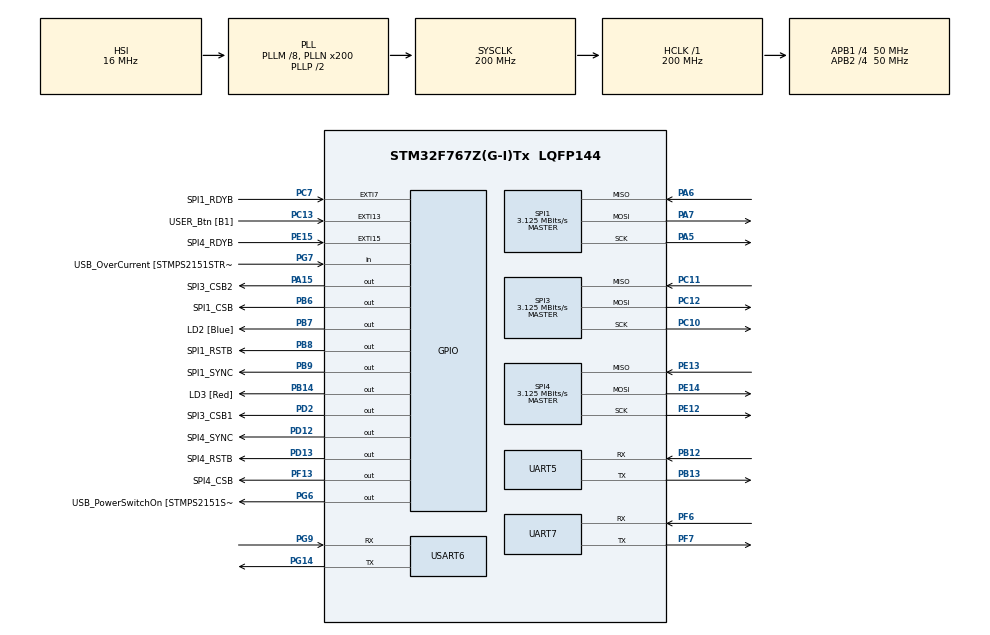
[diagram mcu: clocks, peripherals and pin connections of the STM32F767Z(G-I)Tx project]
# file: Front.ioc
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Mcu.Family=STM32F7
Mcu.Name=STM32F767Z(G-I)Tx
Mcu.Package=LQFP144
NVIC.EXTI15_10_IRQn=true\:1\:0\:true\:false\:true\:true
NVIC.EXTI9_5_IRQn=true\:1\:0\:true\:false\:true\:true
NVIC.PriorityGroup=NVIC_PRIORITYGROUP_3
NVIC.TIM1_UP_TIM10_IRQn=true\:0\:0\:false\:false\:true\:true
NVIC.USART6_IRQn=true\:0\:0\:false\:false\:true\:true
PA1.GPIO_Label=RMII_REF_CLK [LAN8742A-CZ-TR_REFCLK0]
PA1.Signal=ETH_REF_CLK
PA10.GPIO_Label=USB_ID
PA10.Signal=USB_OTG_FS_ID
PA11.GPIO_Label=USB_DM
PA11.Signal=USB_OTG_FS_DM
PA12.GPIO_Label=USB_DP
PA12.Signal=USB_OTG_FS_DP
PA13.GPIO_Label=TMS
PA13.Signal=SYS_JTMS-SWDIO
PA14.GPIO_Label=TCK
PA14.Signal=SYS_JTCK-SWCLK
PA15.GPIO_Label=SPI3_CSB2
PA15.Signal=GPIO_Output
PA2.GPIO_Label=RMII_MDIO [LAN8742A-CZ-TR_MDIO]
PA2.Signal=ETH_MDIO
PA5.Mode=Full_Duplex_Master
PA5.Signal=SPI1_SCK
PA6.Mode=Full_Duplex_Master
PA6.Signal=SPI1_MISO
PA7.Mode=Full_Duplex_Master
PA7.Signal=SPI1_MOSI
PA8.GPIO_Label=USB_SOF [TP1]
PA8.Signal=USB_OTG_FS_SOF
PA9.GPIO_Label=USB_VBUS
PA9.Signal=USB_OTG_FS_VBUS
PB12.Mode=Asynchronous
PB12.Signal=UART5_RX
PB13.Mode=Asynchronous
PB13.Signal=UART5_TX
PB14.GPIO_Label=LD3 [Red]
PB14.Signal=GPIO_Output
PB3.GPIO_Label=SW0
PB3.Signal=SYS_JTDO-SWO
PB6.GPIO_Label=SPI1_CSB
PB6.Signal=GPIO_Output
PB7.GPIO_Label=LD2 [Blue]
PB7.Signal=GPIO_Output
PB8.GPIO_Label=SPI1_RSTB
PB8.Signal=GPIO_Output
PB9.GPIO_Label=SPI1_SYNC
PB9.Signal=GPIO_Output
PC1.GPIO_Label=RMII_MDC [LAN8742A-CZ-TR_MDC]
PC1.Signal=ETH_MDC
PC10.Mode=Full_Duplex_Master
PC10.Signal=SPI3_SCK
PC11.Mode=Full_Duplex_Master
PC11.Signal=SPI3_MISO
PC12.Mode=Full_Duplex_Master
PC12.Signal=SPI3_MOSI
PC13.GPIO_Label=USER_Btn [B1]
PC13.Signal=GPXTI13
PC14/OSC32_IN.Signal=RCC_OSC32_IN
PC15/OSC32_OUT.Signal=RCC_OSC32_OUT
PC4.GPIO_Label=RMII_RXD0 [LAN8742A-CZ-TR_RXD0]
PC4.Signal=ETH_RXD0
PC5.GPIO_Label=RMII_RXD1 [LAN8742A-CZ-TR_RXD1]
PC5.Signal=ETH_RXD1
PC7.GPIO_Label=SPI1_RDYB
PC7.GPIO_ModeDefaultEXTI=GPIO_MODE_IT_FALLING
PC7.Signal=GPXTI7
PD12.GPIO_Label=SPI4_SYNC
PD12.Signal=GPIO_Output
PD13.GPIO_Label=SPI4_RSTB
PD13.Signal=GPIO_Output
PD2.GPIO_Label=SPI3_CSB1
PD2.Signal=GPIO_Output
PD8.GPIO_Label=STLK_RX [STM32F103CBT6_PA3]
PD8.Signal=USART3_TX
PD9.GPIO_Label=STLK_TX [STM32F103CBT6_PA2]
PD9.Signal=USART3_RX
PE12.Mode=Full_Duplex_Master
PE12.Signal=SPI4_SCK
PE13.Mode=Full_Duplex_Master
PE13.Signal=SPI4_MISO
PE14.Mode=Full_Duplex_Master
PE14.Signal=SPI4_MOSI
PE15.GPIO_Label=SPI4_RDYB
PE15.GPIO_ModeDefaultEXTI=GPIO_MODE_IT_FALLING
PE15.Signal=GPXTI15
PF13.GPIO_Label=SPI4_CSB
PF13.Signal=GPIO_Output
PF6.Mode=Asynchronous
PF6.Signal=UART7_RX
PF7.Mode=Asynchronous
PF7.Signal=UART7_TX
PG11.GPIO_Label=RMII_TX_EN [LAN8742A-CZ-TR_TXEN]
PG11.Signal=ETH_TX_EN
PG13.GPIO_Label=RMII_TXD0 [LAN8742A-CZ-TR_TXD0]
PG13.Signal=ETH_TXD0
PG14.Mode=Asynchronous
PG14.Signal=USART6_TX
PG6.GPIO_Label=USB_PowerSwitchOn [STMPS2151STR_EN]
PG6.Signal=GPIO_Output
PG7.GPIO_Label=USB_OverCurrent [STMPS2151STR_FAULT]
PG7.Signal=GPIO_Input
PG9.Mode=Asynchronous
PG9.Signal=USART6_RX
PH0/OSC_IN.GPIO_Label=MCO [STM32F103CBT6_PA8]
PH0/OSC_IN.Signal=RCC_OSC_IN
PH1/OSC_OUT.GPIO_Label=RMII_MDC [LAN8742A-CZ-TR_MDC]
PH1/OSC_OUT.Signal=RCC_OSC_OUT
ProjectManager.HeapSize=0x200
ProjectManager.StackSize=0x400
ProjectManager.TargetToolchain=MDK-ARM V5
RCC.48MHZClocksFreq_Value=24000000
RCC.AHBFreq_Value=200000000
RCC.APB1CLKDivider=RCC_HCLK_DIV4
RCC.APB1Freq_Value=50000000
RCC.APB1TimFreq_Value=100000000
RCC.APB2CLKDivider=RCC_HCLK_DIV4
RCC.APB2Freq_Value=50000000
RCC.APB2TimFreq_Value=100000000
RCC.CortexFreq_Value=200000000
RCC.HCLKFreq_Value=200000000
RCC.HSE_VALUE=25000000
RCC.HSI_VALUE=16000000
RCC.LSE_VALUE=32768
RCC.PLLM=8
RCC.PLLMUL=RCC_PLL_MUL9
RCC.PLLN=200
RCC.PRESCALERUSB=RCC_USBCLKSOURCE_PLL_DIV1_5
RCC.SYSCLKFreq_VALUE=200000000
RCC.SYSCLKSource=RCC_SYSCLKSOURCE_PLLCLK
RCC.SYSCLKSourceVirtual=RCC_SYSCLKSOURCE_PLLCLK
RCC.USBFreq_Value=200000000
RCC.VCOOutputFreq_Value=400000000
SPI1.BaudRatePrescaler=SPI_BAUDRATEPRESCALER_16
SPI1.CalculateBaudRate=3.125 MBits/s
SPI1.DataSize=SPI_DATASIZE_8BIT
SPI1.Direction=SPI_DIRECTION_2LINES
SPI1.Mode=SPI_MODE_MASTER
SPI1.NSSPMode=SPI_NSS_PULSE_DISABLE
SPI1.VirtualType=VM_MASTER
SPI3.BaudRatePrescaler=SPI_BAUDRATEPRESCALER_16
SPI3.CalculateBaudRate=3.125 MBits/s
SPI3.DataSize=SPI_DATASIZE_8BIT
SPI3.Direction=SPI_DIRECTION_2LINES
SPI3.Mode=SPI_MODE_MASTER
SPI3.NSSPMode=SPI_NSS_PULSE_DISABLE
SPI3.VirtualType=VM_MASTER
SPI4.BaudRatePrescaler=SPI_BAUDRATEPRESCALER_16
SPI4.CalculateBaudRate=3.125 MBits/s
SPI4.DataSize=SPI_DATASIZE_8BIT
SPI4.Direction=SPI_DIRECTION_2LINES
SPI4.Mode=SPI_MODE_MASTER
SPI4.NSSPMode=SPI_NSS_PULSE_DISABLE
SPI4.VirtualType=VM_MASTER
TIM1.Period=999
TIM1.Prescaler=999
USART6.VirtualMode-Asynchronous=VM_ASYNC
VP_TIM1_VS_ClockSourceINT.Mode=Internal
board=NUCLEO-F767ZI

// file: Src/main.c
/**
  ******************************************************************************
  * File Name          : main.c
  * Description        : Main program body
  ******************************************************************************
  ** This notice applies to any and all portions of this file
  * that are not between comment pairs USER CODE BEGIN and
  * USER CODE END. Other portions of this file, whether
  * inserted by the user or by software development tools
  * are owned by their respective copyright owners.
  *
  * COPYRIGHT(c) 2017 STMicroelectronics
  *
  * Redistribution and use in source and binary forms, with or without modification,
  * are permitted provided that the following conditions are met:
  *   1. Redistributions of source code must retain the above copyright notice,
  *      this list of conditions and the following disclaimer.
  *   2. Redistributions in binary form must reproduce the above copyright notice,
  *      this list of conditions and the following disclaimer in the documentation
  *      and/or other materials provided with the distribution.
  *   3. Neither the name of STMicroelectronics nor the names of its contributors
  *      may be used to endorse or promote products derived from this software
  *      without specific prior written permission.
  *
  * THIS SOFTWARE IS PROVIDED BY THE COPYRIGHT HOLDERS AND CONTRIBUTORS "AS IS"
  * AND ANY EXPRESS OR IMPLIED WARRANTIES, INCLUDING, BUT NOT LIMITED TO, THE
  * IMPLIED WARRANTIES OF MERCHANTABILITY AND FITNESS FOR A PARTICULAR PURPOSE ARE
  * DISCLAIMED. IN NO EVENT SHALL THE COPYRIGHT HOLDER OR CONTRIBUTORS BE LIABLE
  * FOR ANY DIRECT, INDIRECT, INCIDENTAL, SPECIAL, EXEMPLARY, OR CONSEQUENTIAL
  * DAMAGES (INCLUDING, BUT NOT LIMITED TO, PROCUREMENT OF SUBSTITUTE GOODS OR
  * SERVICES; LOSS OF USE, DATA, OR PROFITS; OR BUSINESS INTERRUPTION) HOWEVER
  * CAUSED AND ON ANY THEORY OF LIABILITY, WHETHER IN CONTRACT, STRICT LIABILITY,
  * OR TORT (INCLUDING NEGLIGENCE OR OTHERWISE) ARISING IN ANY WAY OUT OF THE USE
  * OF THIS SOFTWARE, EVEN IF ADVISED OF THE POSSIBILITY OF SUCH DAMAGE.
  *
  ******************************************************************************
  */
#include "main.h"
#include "stm32f7xx_hal.h"

/* USER CODE BEGIN Includes */

/* Device Driver */

#include "MAX11270.h"
#include "MPU9250.h"

#include "Protocol.h"
#include "buffer.h"
#include "crc.h"
//#include "VescUart.h"

/* Algorithm */

#include "Filters.h"
#include "Queue.h"

/* USER CODE END Includes */

SPI_HandleTypeDef hspi1;
SPI_HandleTypeDef hspi3;
SPI_HandleTypeDef hspi4;

TIM_HandleTypeDef htim1;

UART_HandleTypeDef huart5;
UART_HandleTypeDef huart7;
UART_HandleTypeDef huart6;

/* USER CODE BEGIN PV */
/* Private variables ---------------------------------------------------------*/

MAX_SelectTypeDef hmax1;
MAX_SelectTypeDef hmax2;

MPU_SelectTypeDef hmpu1;
MPU_SelectTypeDef hmpu2;

/* USER CODE END PV */

void SystemClock_Config(void);
static void MX_GPIO_Init(void);
static void MX_USART6_UART_Init(void);
static void MX_SPI3_Init(void);
static void MX_SPI4_Init(void);
static void MX_SPI1_Init(void);
static void MX_UART7_Init(void);
static void MX_UART5_Init(void);
static void MX_TIM1_Init(void);

/* USER CODE BEGIN PFP */
/* Private function prototypes -----------------------------------------------*/

static void MAX1_Init(void);
static void MAX2_Init(void);

	/* static void MPU1_Init(void);
		*/

/* USER CODE END PFP */

/* USER CODE BEGIN 0 */

uint16_t TIM_Tick = 1;

uint8_t Device[1];

uint8_t Rx_data[20];

uint32_t qu;

/* USER CODE END 0 */

int main(void)
{

  /* USER CODE BEGIN 1 */
	uint8_t R_buffer1[4], R_buffer2[4];

  /* USER CODE END 1 */

  /* MCU Configuration----------------------------------------------------------*/

  /* Reset of all peripherals, Initializes the Flash interface and the Systick. */
  HAL_Init();

  /* Configure the system clock */
  SystemClock_Config();

  /* Initialize all configured peripherals */
  MX_GPIO_Init();
  MX_USART6_UART_Init();
  MX_SPI3_Init();
  MX_SPI4_Init();
  MX_SPI1_Init();
  MX_UART7_Init();
  MX_UART5_Init();
  MX_TIM1_Init();

  /* USER CODE BEGIN 2 */

  MAX1_Init();
  MAX2_Init();

  MAX11270_ConvCmd(&hmax1);
  MAX11270_ConvCmd(&hmax2);

  HAL_TIM_Base_Start_IT(&htim1);

  /* USER CODE END 2 */

  /* Infinite loop */
  /* USER CODE BEGIN WHILE */
  while (1)
  {

	////////////////////Front/////////////////////////////////

	HAL_UART_Receive_IT(&huart6, Rx_data, 1);

  /* USER CODE END WHILE */

  }
}

/** System Clock Configuration
*/
void SystemClock_Config(void)
{

  RCC_OscInitTypeDef RCC_OscInitStruct;
  RCC_ClkInitTypeDef RCC_ClkInitStruct;
  RCC_PeriphCLKInitTypeDef PeriphClkInitStruct;

    /**Configure the main internal regulator output voltage
    */
  __HAL_RCC_PWR_CLK_ENABLE();

  __HAL_PWR_VOLTAGESCALING_CONFIG(PWR_REGULATOR_VOLTAGE_SCALE1);

    /**Initializes the CPU, AHB and APB busses clocks
    */
  RCC_OscInitStruct.OscillatorType = RCC_OSCILLATORTYPE_HSI;
  RCC_OscInitStruct.HSIState = RCC_HSI_ON;
  RCC_OscInitStruct.HSICalibrationValue = 16;
  RCC_OscInitStruct.PLL.PLLState = RCC_PLL_ON;
  RCC_OscInitStruct.PLL.PLLSource = RCC_PLLSOURCE_HSI;
  RCC_OscInitStruct.PLL.PLLM = 8;
  RCC_OscInitStruct.PLL.PLLN = 200;
  RCC_OscInitStruct.PLL.PLLP = RCC_PLLP_DIV2;
  RCC_OscInitStruct.PLL.PLLQ = 2;
  if (HAL_RCC_OscConfig(&RCC_OscInitStruct) != HAL_OK)
  {
    _Error_Handler(__FILE__, __LINE__);
  }

    /**Activate the Over-Drive mode
    */
  if (HAL_PWREx_EnableOverDrive() != HAL_OK)
  {
    _Error_Handler(__FILE__, __LINE__);
  }

    /**Initializes the CPU, AHB and APB busses clocks
    */
  RCC_ClkInitStruct.ClockType = RCC_CLOCKTYPE_HCLK|RCC_CLOCKTYPE_SYSCLK
                              |RCC_CLOCKTYPE_PCLK1|RCC_CLOCKTYPE_PCLK2;
  RCC_ClkInitStruct.SYSCLKSource = RCC_SYSCLKSOURCE_PLLCLK;
  RCC_ClkInitStruct.AHBCLKDivider = RCC_SYSCLK_DIV1;
  RCC_ClkInitStruct.APB1CLKDivider = RCC_HCLK_DIV4;
  RCC_ClkInitStruct.APB2CLKDivider = RCC_HCLK_DIV4;

  if (HAL_RCC_ClockConfig(&RCC_ClkInitStruct, FLASH_LATENCY_6) != HAL_OK)
  {
    _Error_Handler(__FILE__, __LINE__);
  }

  PeriphClkInitStruct.PeriphClockSelection = RCC_PERIPHCLK_USART6|RCC_PERIPHCLK_UART5
                              |RCC_PERIPHCLK_UART7;
  PeriphClkInitStruct.Uart5ClockSelection = RCC_UART5CLKSOURCE_PCLK1;
  PeriphClkInitStruct.Usart6ClockSelection = RCC_USART6CLKSOURCE_PCLK2;
  PeriphClkInitStruct.Uart7ClockSelection = RCC_UART7CLKSOURCE_PCLK1;
  if (HAL_RCCEx_PeriphCLKConfig(&PeriphClkInitStruct) != HAL_OK)
  {
    _Error_Handler(__FILE__, __LINE__);
  }

    /**Configure the Systick interrupt time
    */
  HAL_SYSTICK_Config(HAL_RCC_GetHCLKFreq()/1000);

    /**Configure the Systick
    */
  HAL_SYSTICK_CLKSourceConfig(SYSTICK_CLKSOURCE_HCLK);

  /* SysTick_IRQn interrupt configuration */
  HAL_NVIC_SetPriority(SysTick_IRQn, 0, 0);
}

/* SPI1 init function */
static void MX_SPI1_Init(void)
{

  /* SPI1 parameter configuration*/
  hspi1.Instance = SPI1;
  hspi1.Init.Mode = SPI_MODE_MASTER;
  hspi1.Init.Direction = SPI_DIRECTION_2LINES;
  hspi1.Init.DataSize = SPI_DATASIZE_8BIT;
  hspi1.Init.CLKPolarity = SPI_POLARITY_LOW;
  hspi1.Init.CLKPhase = SPI_PHASE_1EDGE;
  hspi1.Init.NSS = SPI_NSS_SOFT;
  hspi1.Init.BaudRatePrescaler = SPI_BAUDRATEPRESCALER_16;
  hspi1.Init.FirstBit = SPI_FIRSTBIT_MSB;
  hspi1.Init.TIMode = SPI_TIMODE_DISABLE;
  hspi1.Init.CRCCalculation = SPI_CRCCALCULATION_DISABLE;
  hspi1.Init.CRCPolynomial = 7;
  hspi1.Init.CRCLength = SPI_CRC_LENGTH_DATASIZE;
  hspi1.Init.NSSPMode = SPI_NSS_PULSE_DISABLE;
  if (HAL_SPI_Init(&hspi1) != HAL_OK)
  {
    _Error_Handler(__FILE__, __LINE__);
  }

}

/* SPI3 init function */
static void MX_SPI3_Init(void)
{

  /* SPI3 parameter configuration*/
  hspi3.Instance = SPI3;
  hspi3.Init.Mode = SPI_MODE_MASTER;
  hspi3.Init.Direction = SPI_DIRECTION_2LINES;
  hspi3.Init.DataSize = SPI_DATASIZE_8BIT;
  hspi3.Init.CLKPolarity = SPI_POLARITY_LOW;
  hspi3.Init.CLKPhase = SPI_PHASE_1EDGE;
  hspi3.Init.NSS = SPI_NSS_SOFT;
  hspi3.Init.BaudRatePrescaler = SPI_BAUDRATEPRESCALER_16;
  hspi3.Init.FirstBit = SPI_FIRSTBIT_MSB;
  hspi3.Init.TIMode = SPI_TIMODE_DISABLE;
  hspi3.Init.CRCCalculation = SPI_CRCCALCULATION_DISABLE;
  hspi3.Init.CRCPolynomial = 7;
  hspi3.Init.CRCLength = SPI_CRC_LENGTH_DATASIZE;
  hspi3.Init.NSSPMode = SPI_NSS_PULSE_DISABLE;
  if (HAL_SPI_Init(&hspi3) != HAL_OK)
  {
    _Error_Handler(__FILE__, __LINE__);
  }

}

/* SPI4 init function */
static void MX_SPI4_Init(void)
{

  /* SPI4 parameter configuration*/
  hspi4.Instance = SPI4;
  hspi4.Init.Mode = SPI_MODE_MASTER;
  hspi4.Init.Direction = SPI_DIRECTION_2LINES;
  hspi4.Init.DataSize = SPI_DATASIZE_8BIT;
  hspi4.Init.CLKPolarity = SPI_POLARITY_LOW;
  hspi4.Init.CLKPhase = SPI_PHASE_1EDGE;
  hspi4.Init.NSS = SPI_NSS_SOFT;
  hspi4.Init.BaudRatePrescaler = SPI_BAUDRATEPRESCALER_16;
  hspi4.Init.FirstBit = SPI_FIRSTBIT_MSB;
  hspi4.Init.TIMode = SPI_TIMODE_DISABLE;
  hspi4.Init.CRCCalculation = SPI_CRCCALCULATION_DISABLE;
  hspi4.Init.CRCPolynomial = 7;
  hspi4.Init.CRCLength = SPI_CRC_LENGTH_DATASIZE;
  hspi4.Init.NSSPMode = SPI_NSS_PULSE_DISABLE;
  if (HAL_SPI_Init(&hspi4) != HAL_OK)
  {
    _Error_Handler(__FILE__, __LINE__);
  }

}

/* TIM1 init function */
static void MX_TIM1_Init(void)
{

  TIM_ClockConfigTypeDef sClockSourceConfig;
  TIM_MasterConfigTypeDef sMasterConfig;

  htim1.Instance = TIM1;
  htim1.Init.Prescaler = 99;
  htim1.Init.CounterMode = TIM_COUNTERMODE_UP;
  htim1.Init.Period = 999;
  htim1.Init.ClockDivision = TIM_CLOCKDIVISION_DIV1;
  htim1.Init.RepetitionCounter = 0;
  htim1.Init.AutoReloadPreload = TIM_AUTORELOAD_PRELOAD_DISABLE;
  if (HAL_TIM_Base_Init(&htim1) != HAL_OK)
  {
    _Error_Handler(__FILE__, __LINE__);
  }

  sClockSourceConfig.ClockSource = TIM_CLOCKSOURCE_INTERNAL;
  if (HAL_TIM_ConfigClockSource(&htim1, &sClockSourceConfig) != HAL_OK)
  {
    _Error_Handler(__FILE__, __LINE__);
  }

  sMasterConfig.MasterOutputTrigger = TIM_TRGO_RESET;
  sMasterConfig.MasterOutputTrigger2 = TIM_TRGO2_RESET;
  sMasterConfig.MasterSlaveMode = TIM_MASTERSLAVEMODE_DISABLE;
  if (HAL_TIMEx_MasterConfigSynchronization(&htim1, &sMasterConfig) != HAL_OK)
  {
    _Error_Handler(__FILE__, __LINE__);
  }

}

/* UART5 init function */
static void MX_UART5_Init(void)
{

  huart5.Instance = UART5;
  huart5.Init.BaudRate = 115200;
  huart5.Init.WordLength = UART_WORDLENGTH_7B;
  huart5.Init.StopBits = UART_STOPBITS_1;
  huart5.Init.Parity = UART_PARITY_NONE;
  huart5.Init.Mode = UART_MODE_TX_RX;
  huart5.Init.HwFlowCtl = UART_HWCONTROL_NONE;
  huart5.Init.OverSampling = UART_OVERSAMPLING_16;
  huart5.Init.OneBitSampling = UART_ONE_BIT_SAMPLE_DISABLE;
  huart5.AdvancedInit.AdvFeatureInit = UART_ADVFEATURE_NO_INIT;
  if (HAL_UART_Init(&huart5) != HAL_OK)
  {
    _Error_Handler(__FILE__, __LINE__);
  }

}

/* UART7 init function */
static void MX_UART7_Init(void)
{

  huart7.Instance = UART7;
  huart7.Init.BaudRate = 115200;
  huart7.Init.WordLength = UART_WORDLENGTH_7B;
  huart7.Init.StopBits = UART_STOPBITS_1;
  huart7.Init.Parity = UART_PARITY_NONE;
  huart7.Init.Mode = UART_MODE_TX_RX;
  huart7.Init.HwFlowCtl = UART_HWCONTROL_NONE;
  huart7.Init.OverSampling = UART_OVERSAMPLING_16;
  huart7.Init.OneBitSampling = UART_ONE_BIT_SAMPLE_DISABLE;
  huart7.AdvancedInit.AdvFeatureInit = UART_ADVFEATURE_NO_INIT;
  if (HAL_UART_Init(&huart7) != HAL_OK)
  {
    _Error_Handler(__FILE__, __LINE__);
  }

}

/* USART6 init function */
static void MX_USART6_UART_Init(void)
{

  huart6.Instance = USART6;
  huart6.Init.BaudRate = 115200;
  huart6.Init.WordLength = UART_WORDLENGTH_8B;
  huart6.Init.StopBits = UART_STOPBITS_1;
  huart6.Init.Parity = UART_PARITY_NONE;
  huart6.Init.Mode = UART_MODE_TX_RX;
  huart6.Init.HwFlowCtl = UART_HWCONTROL_NONE;
  huart6.Init.OverSampling = UART_OVERSAMPLING_16;
  huart6.Init.OneBitSampling = UART_ONE_BIT_SAMPLE_DISABLE;
  huart6.AdvancedInit.AdvFeatureInit = UART_ADVFEATURE_NO_INIT;
  if (HAL_UART_Init(&huart6) != HAL_OK)
  {
    _Error_Handler(__FILE__, __LINE__);
  }

}

/** Configure pins as
        * Analog
        * Input
        * Output
        * EVENT_OUT
        * EXTI
     PC1   ------> ETH_MDC
     PA1   ------> ETH_REF_CLK
     PA2   ------> ETH_MDIO
     PC4   ------> ETH_RXD0
     PC5   ------> ETH_RXD1
     PD8   ------> USART3_TX
     PD9   ------> USART3_RX
     PA8   ------> USB_OTG_FS_SOF
     PA9   ------> USB_OTG_FS_VBUS
     PA10   ------> USB_OTG_FS_ID
     PA11   ------> USB_OTG_FS_DM
     PA12   ------> USB_OTG_FS_DP
     PG11   ------> ETH_TX_EN
     PG13   ------> ETH_TXD0
*/
static void MX_GPIO_Init(void)
{

  GPIO_InitTypeDef GPIO_InitStruct;

  /* GPIO Ports Clock Enable */
  __HAL_RCC_GPIOC_CLK_ENABLE();
  __HAL_RCC_GPIOF_CLK_ENABLE();
  __HAL_RCC_GPIOH_CLK_ENABLE();
  __HAL_RCC_GPIOA_CLK_ENABLE();
  __HAL_RCC_GPIOE_CLK_ENABLE();
  __HAL_RCC_GPIOB_CLK_ENABLE();
  __HAL_RCC_GPIOD_CLK_ENABLE();
  __HAL_RCC_GPIOG_CLK_ENABLE();

  /*Configure GPIO pin Output Level */
  HAL_GPIO_WritePin(SPI4_CSB_GPIO_Port, SPI4_CSB_Pin, GPIO_PIN_RESET);

  /*Configure GPIO pin Output Level */
  HAL_GPIO_WritePin(GPIOB, LD3_Pin|SPI1_CSB_Pin|LD2_Pin|SPI1_RSTB_Pin
                          |SPI1_SYNC_Pin, GPIO_PIN_RESET);

  /*Configure GPIO pin Output Level */
  HAL_GPIO_WritePin(GPIOD, SPI4_SYNC_Pin|SPI4_RSTB_Pin|SPI3_CSB1_Pin, GPIO_PIN_RESET);

  /*Configure GPIO pin Output Level */
  HAL_GPIO_WritePin(USB_PowerSwitchOn_GPIO_Port, USB_PowerSwitchOn_Pin, GPIO_PIN_RESET);

  /*Configure GPIO pin Output Level */
  HAL_GPIO_WritePin(SPI3_CSB2_GPIO_Port, SPI3_CSB2_Pin, GPIO_PIN_RESET);

  /*Configure GPIO pin : USER_Btn_Pin */
  GPIO_InitStruct.Pin = USER_Btn_Pin;
  GPIO_InitStruct.Mode = GPIO_MODE_IT_RISING;
  GPIO_InitStruct.Pull = GPIO_NOPULL;
  HAL_GPIO_Init(USER_Btn_GPIO_Port, &GPIO_InitStruct);

  /*Configure GPIO pins : RMII_MDCC1_Pin RMII_RXD0_Pin RMII_RXD1_Pin */
  GPIO_InitStruct.Pin = RMII_MDCC1_Pin|RMII_RXD0_Pin|RMII_RXD1_Pin;
  GPIO_InitStruct.Mode = GPIO_MODE_AF_PP;
  GPIO_InitStruct.Pull = GPIO_NOPULL;
  GPIO_InitStruct.Speed = GPIO_SPEED_FREQ_VERY_HIGH;
  GPIO_InitStruct.Alternate = GPIO_AF11_ETH;
  HAL_GPIO_Init(GPIOC, &GPIO_InitStruct);

  /*Configure GPIO pins : RMII_REF_CLK_Pin RMII_MDIO_Pin */
  GPIO_InitStruct.Pin = RMII_REF_CLK_Pin|RMII_MDIO_Pin;
  GPIO_InitStruct.Mode = GPIO_MODE_AF_PP;
  GPIO_InitStruct.Pull = GPIO_NOPULL;
  GPIO_InitStruct.Speed = GPIO_SPEED_FREQ_VERY_HIGH;
  GPIO_InitStruct.Alternate = GPIO_AF11_ETH;
  HAL_GPIO_Init(GPIOA, &GPIO_InitStruct);

  /*Configure GPIO pin : SPI4_CSB_Pin */
  GPIO_InitStruct.Pin = SPI4_CSB_Pin;
  GPIO_InitStruct.Mode = GPIO_MODE_OUTPUT_PP;
  GPIO_InitStruct.Pull = GPIO_NOPULL;
  GPIO_InitStruct.Speed = GPIO_SPEED_FREQ_LOW;
  HAL_GPIO_Init(SPI4_CSB_GPIO_Port, &GPIO_InitStruct);

  /*Configure GPIO pin : SPI4_RDYB_Pin */
  GPIO_InitStruct.Pin = SPI4_RDYB_Pin;
  GPIO_InitStruct.Mode = GPIO_MODE_IT_FALLING;
  GPIO_InitStruct.Pull = GPIO_NOPULL;
  HAL_GPIO_Init(SPI4_RDYB_GPIO_Port, &GPIO_InitStruct);

  /*Configure GPIO pins : LD3_Pin SPI1_CSB_Pin LD2_Pin SPI1_RSTB_Pin
                           SPI1_SYNC_Pin */
  GPIO_InitStruct.Pin = LD3_Pin|SPI1_CSB_Pin|LD2_Pin|SPI1_RSTB_Pin
                          |SPI1_SYNC_Pin;
  GPIO_InitStruct.Mode = GPIO_MODE_OUTPUT_PP;
  GPIO_InitStruct.Pull = GPIO_NOPULL;
  GPIO_InitStruct.Speed = GPIO_SPEED_FREQ_LOW;
  HAL_GPIO_Init(GPIOB, &GPIO_InitStruct);

  /*Configure GPIO pins : STLK_RX_Pin STLK_TX_Pin */
  GPIO_InitStruct.Pin = STLK_RX_Pin|STLK_TX_Pin;
  GPIO_InitStruct.Mode = GPIO_MODE_AF_PP;
  GPIO_InitStruct.Pull = GPIO_NOPULL;
  GPIO_InitStruct.Speed = GPIO_SPEED_FREQ_VERY_HIGH;
  GPIO_InitStruct.Alternate = GPIO_AF7_USART3;
  HAL_GPIO_Init(GPIOD, &GPIO_InitStruct);

  /*Configure GPIO pins : SPI4_SYNC_Pin SPI4_RSTB_Pin SPI3_CSB1_Pin */
  GPIO_InitStruct.Pin = SPI4_SYNC_Pin|SPI4_RSTB_Pin|SPI3_CSB1_Pin;
  GPIO_InitStruct.Mode = GPIO_MODE_OUTPUT_PP;
  GPIO_InitStruct.Pull = GPIO_NOPULL;
  GPIO_InitStruct.Speed = GPIO_SPEED_FREQ_LOW;
  HAL_GPIO_Init(GPIOD, &GPIO_InitStruct);

  /*Configure GPIO pin : USB_PowerSwitchOn_Pin */
  GPIO_InitStruct.Pin = USB_PowerSwitchOn_Pin;
  GPIO_InitStruct.Mode = GPIO_MODE_OUTPUT_PP;
  GPIO_InitStruct.Pull = GPIO_NOPULL;
  GPIO_InitStruct.Speed = GPIO_SPEED_FREQ_LOW;
  HAL_GPIO_Init(USB_PowerSwitchOn_GPIO_Port, &GPIO_InitStruct);

  /*Configure GPIO pin : USB_OverCurrent_Pin */
  GPIO_InitStruct.Pin = USB_OverCurrent_Pin;
  GPIO_InitStruct.Mode = GPIO_MODE_INPUT;
  GPIO_InitStruct.Pull = GPIO_NOPULL;
  HAL_GPIO_Init(USB_OverCurrent_GPIO_Port, &GPIO_InitStruct);

  /*Configure GPIO pin : SPI1_RDYB_Pin */
  GPIO_InitStruct.Pin = SPI1_RDYB_Pin;
  GPIO_InitStruct.Mode = GPIO_MODE_IT_FALLING;
  GPIO_InitStruct.Pull = GPIO_NOPULL;
  HAL_GPIO_Init(SPI1_RDYB_GPIO_Port, &GPIO_InitStruct);

  /*Configure GPIO pins : USB_SOF_Pin USB_ID_Pin USB_DM_Pin USB_DP_Pin */
  GPIO_InitStruct.Pin = USB_SOF_Pin|USB_ID_Pin|USB_DM_Pin|USB_DP_Pin;
  GPIO_InitStruct.Mode = GPIO_MODE_AF_PP;
  GPIO_InitStruct.Pull = GPIO_NOPULL;
  GPIO_InitStruct.Speed = GPIO_SPEED_FREQ_VERY_HIGH;
  GPIO_InitStruct.Alternate = GPIO_AF10_OTG_FS;
  HAL_GPIO_Init(GPIOA, &GPIO_InitStruct);

  /*Configure GPIO pin : USB_VBUS_Pin */
  GPIO_InitStruct.Pin = USB_VBUS_Pin;
  GPIO_InitStruct.Mode = GPIO_MODE_INPUT;
  GPIO_InitStruct.Pull = GPIO_NOPULL;
  HAL_GPIO_Init(USB_VBUS_GPIO_Port, &GPIO_InitStruct);

  /*Configure GPIO pin : SPI3_CSB2_Pin */
  GPIO_InitStruct.Pin = SPI3_CSB2_Pin;
  GPIO_InitStruct.Mode = GPIO_MODE_OUTPUT_PP;
  GPIO_InitStruct.Pull = GPIO_NOPULL;
  GPIO_InitStruct.Speed = GPIO_SPEED_FREQ_LOW;
  HAL_GPIO_Init(SPI3_CSB2_GPIO_Port, &GPIO_InitStruct);

  /*Configure GPIO pins : RMII_TX_EN_Pin RMII_TXD0_Pin */
  GPIO_InitStruct.Pin = RMII_TX_EN_Pin|RMII_TXD0_Pin;
  GPIO_InitStruct.Mode = GPIO_MODE_AF_PP;
  GPIO_InitStruct.Pull = GPIO_NOPULL;
  GPIO_InitStruct.Speed = GPIO_SPEED_FREQ_VERY_HIGH;
  GPIO_InitStruct.Alternate = GPIO_AF11_ETH;
  HAL_GPIO_Init(GPIOG, &GPIO_InitStruct);

  /* EXTI interrupt init*/
  HAL_NVIC_SetPriority(EXTI9_5_IRQn, 1, 0);
  HAL_NVIC_EnableIRQ(EXTI9_5_IRQn);

  HAL_NVIC_SetPriority(EXTI15_10_IRQn, 1, 0);
  HAL_NVIC_EnableIRQ(EXTI15_10_IRQn);

}

/* USER CODE BEGIN 4 */

static void MAX1_Init(void)
{
	hmax1.hspi = hspi1;

	hmax1.CSB_GPIOx = SPI1_CSB_GPIO_Port;
	hmax1.CSB_GPIO_PIN = SPI1_CSB_Pin;

	hmax1.RSTB_GPIOx = SPI1_RSTB_GPIO_Port;
	hmax1.RSTB_GPIO_PIN = SPI1_RSTB_Pin;

	hmax1.SYNC_GPIOx = SPI1_SYNC_GPIO_Port;
	hmax1.SYNC_GPIO_PIN = SPI1_SYNC_Pin;

	hmax1.RDYB_GPIOx = SPI1_RDYB_GPIO_Port;
	hmax1.RDYB_GPIO_PIN = SPI1_RDYB_Pin;

	hmax1.RATE = MAX11270_RATE1600;
	hmax1.GAIN = MAX11270_GAIN32;

	hmax1.Queue.size = 20;
	define_array(&hmax1.Queue);

	MAX11270_Init(&hmax1);
}

static void MAX2_Init(void)
{
	hmax2.hspi = hspi4;

	hmax2.CSB_GPIOx = SPI4_CSB_GPIO_Port;
	hmax2.CSB_GPIO_PIN = SPI4_CSB_Pin;

	hmax2.RSTB_GPIOx = SPI4_RSTB_GPIO_Port;
	hmax2.RSTB_GPIO_PIN = SPI4_RSTB_Pin;

	hmax2.SYNC_GPIOx = SPI4_SYNC_GPIO_Port;
	hmax2.SYNC_GPIO_PIN = SPI4_SYNC_Pin;

	hmax2.RDYB_GPIOx = SPI4_RDYB_GPIO_Port;
	hmax2.RDYB_GPIO_PIN = SPI4_RDYB_Pin;

	hmax2.RATE = hmax1.RATE;
	hmax2.GAIN = hmax1.GAIN;

	hmax2.Queue.size = hmax1.Queue.size;
	define_array(&hmax2.Queue);

	MAX11270_Init(&hmax2);

}

/* USER Callback */

void HAL_TIM_PeriodElapsedCallback(TIM_HandleTypeDef *htim) {

	//////////////////////////////////////

 	TIM_Tick++;
	if(TIM_Tick >= 1000 ) TIM_Tick = 1;
}

void HAL_UART_RxCpltCallback(UART_HandleTypeDef *huart) {
	uint32_t Valu;
	uint8_t Device;

	if(huart->Instance == USART6) {

		if(Rx_data[0] == 0x10)		qu = hmax1.Value;
		else if(Rx_data[0] == 0x11) 	qu = hmax2.Value;

	Data_Transmit(Rx_data[0], qu ,10);
	}
	HAL_GPIO_TogglePin(LD2_GPIO_Port, LD2_Pin);
}

void HAL_GPIO_EXTI_Callback(uint16_t GPIO_Pin) {

		uint8_t i = 0;
		if(GPIO_Pin == SPI1_RDYB_Pin)
		{
			MAX11270_DataRead(&hmax1);

			enqueue(&hmax1.Queue, hmax1.Conv_TData);
			hmax1.Value = MoveAverage(hmax1.Value, &hmax1.Queue);

		}
		else if(GPIO_Pin == SPI4_RDYB_Pin)
		{
			MAX11270_DataRead(&hmax2);
			enqueue(&hmax2.Queue, hmax2.Conv_TData);
			hmax2.Value = MoveAverage(hmax2.Value, &hmax2.Queue);

		}

		HAL_GPIO_TogglePin(LD3_GPIO_Port,LD3_Pin);

}

/*
static void MPU1_Init(void)
{
	hmpu1.hspi = hspi1;
	hmpu1.GPIOx = SPI1_NSS_GPIO_Port;
	hmpu1.GPIO_PIN = SPI1_NSS_Pin;
	hmpu1.my_low_pass_filter = BITS_DLPF_CFG_188HZ;
	hmpu1.my_low_pass_filter_acc = BITS_DLPF_CFG_188HZ;

	hmpu1.dt = 0.01f;
	hmpu1.angle[0] = 0;
	hmpu1.angle[1] = 0;
	hmpu1.angle[2] = 0;
}
*/

/* USER CODE END 4 */

void _Error_Handler(char * file, int line)
{
  while(1)
  {
  }
}

/************************ (C) COPYRIGHT STMicroelectronics *****END OF FILE****/
